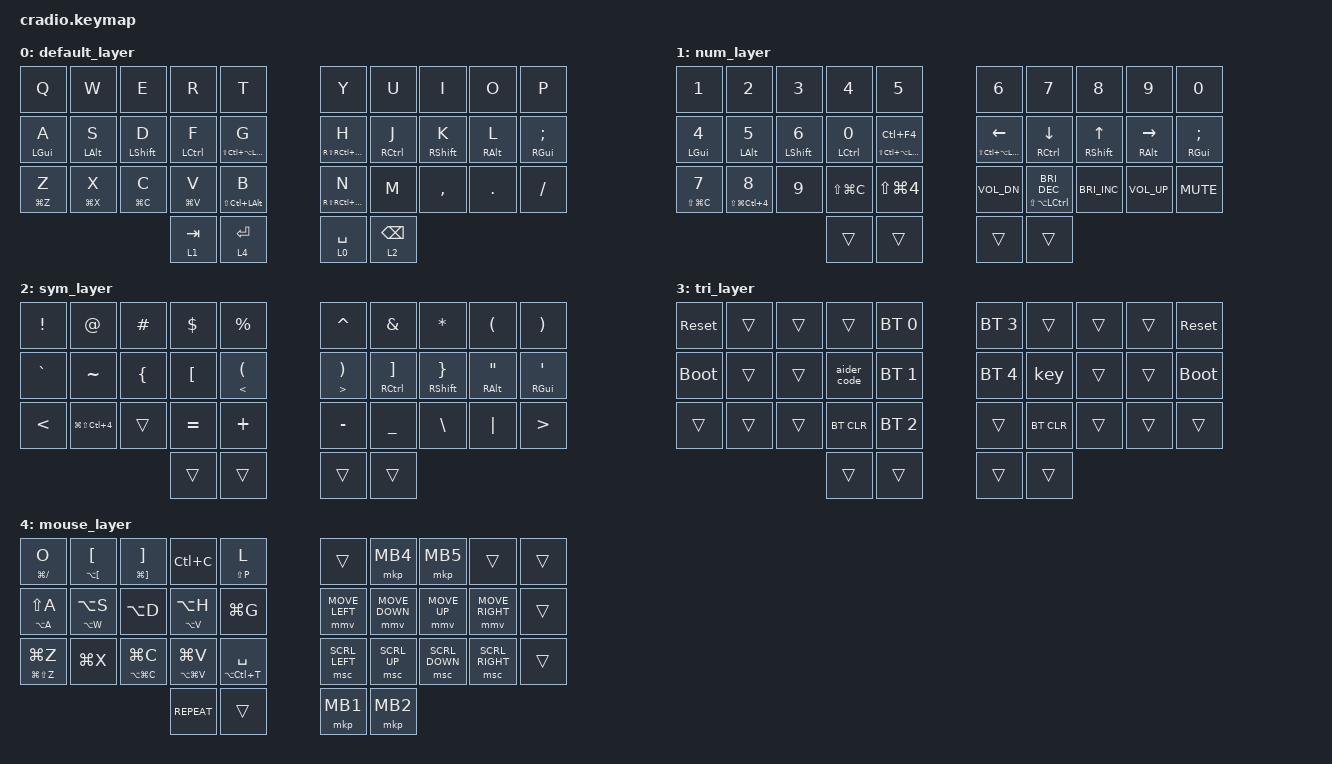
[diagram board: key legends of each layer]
// Copyright (c) 2022 The ZMK Contributors
// SPDX-License-Identifier: MIT

#include <behaviors.dtsi>
#include <dt-bindings/zmk/bt.h>
#include <dt-bindings/zmk/keys.h>
#include <dt-bindings/zmk/pointing.h>

#define ZMK_POINTING_DEFAULT_MOVE_VAL 4500  // default: 600
#define ZMK_POINTING_DEFAULT_SCRL_VAL 200

/ {
    behaviors {
        ht: hold_tap {
            compatible = "zmk,behavior-hold-tap";
            #binding-cells = <2>;
            flavor = "tap-preferred";
            tapping-term-ms = <220>;
            quick-tap-ms = <150>;
            require-prior-idle-ms = <100>;
            bindings = <&kp>, <&kp>;
        };

        hml: hml {
            compatible = "zmk,behavior-hold-tap";
            label = "HML";
            bindings = <&kp>, <&kp>;

            #binding-cells = <2>;
            tapping-term-ms = <280>;
            quick-tap-ms = <175>;
            hold-trigger-on-release;
            hold-trigger-key-positions = <30 31 32 33 34 35 15 16 17 18 19 5 6 7 8 9 25 26 27 28 29>;
            require-prior-idle-ms = <150>;
            flavor = "balanced";
        };

        hmr: hmr {
            compatible = "zmk,behavior-hold-tap";
            label = "HMR";
            bindings = <&kp>, <&kp>;

            #binding-cells = <2>;
            tapping-term-ms = <280>;
            quick-tap-ms = <175>;
            hold-trigger-on-release;
            hold-trigger-key-positions = <30 31 32 33 34 35 0 1 2 3 4 10 11 12 13 14 20 21 22 23 24>;
            require-prior-idle-ms = <150>;
            flavor = "balanced";
        };

        td_tmux: tap_dance_tmux {
            compatible = "zmk,behavior-tap-dance";
            #binding-cells = <0>;
            tapping-term-ms = <200>;
            bindings = <&kp FSLH>, <&tmux_prefix>;
        };

        sticky_shift: sticky_shift {
            compatible = "zmk,behavior-sticky-key";
            label = "STICKY_SHIFT";
            bindings = <&kp>;
            #binding-cells = <1>;
            quick-release;
            release-after-ms = <400>;
        };

        delete: delete {
            compatible = "zmk,behavior-tap-dance";
            label = "DELETE";
            #binding-cells = <0>;
            bindings = <&kp BACKSPACE>, <&kp LA(BACKSPACE)>;
        };

        layer_del: layer_del {
            compatible = "zmk,behavior-hold-tap";
            label = "LAYER_DEL";
            bindings = <&lt>, <&delete>;

            #binding-cells = <2>;
            tapping-term-ms = <150>;
            flavor = "balanced";
        };

        stick_alt_com: stick_alt_com {
            compatible = "zmk,behavior-sticky-key";
            label = "STICK_ALT_COM";
            bindings = <&kp>;
            #binding-cells = <1>;
            release-after-ms = <40>;
            quick-release;
        };
    };

    macros {
        tmux_prefix: tmux_prefix {
            compatible = "zmk,behavior-macro";
            #binding-cells = <0>;
            bindings =
                <&macro_press>,
                <&kp LCTRL>,
                <&macro_tap>,
                <&kp A>,
                <&macro_release>,
                <&kp LCTRL>;
        };

        key: key {
            compatible = "zmk,behavior-macro";
            #binding-cells = <0>;
            bindings = <&kp N4 &kp N2 &kp N2 &kp N4 &kp N2 &kp N2 &kp N6 &kp N9>;
            label = "KEY";
        };

        aider_code: aider_code {
            compatible = "zmk,behavior-macro";
            #binding-cells = <0>;
            bindings = <&kp FSLH &kp C &kp O &kp D &kp E &kp SPACE &kp G &kp O &kp SPACE &kp A &kp H &kp E &kp A &kp D>;
            label = "AIDER_CODE";
        };
    };

    conditional_layers {
        compatible = "zmk,conditional-layers";

        tri_layer {
            if-layers = <1 2>;
            then-layer = <3>;
        };

        shortcut2 {
            if-layers = <4 5>;
            then-layer = <6>;
        };
    };

    combos {
        compatible = "zmk,combos";

        jkesc {
            bindings = <&kp ESCAPE>;
            key-positions = <16 17>;
            timeout-ms = <50>;
        };

        medialayer {
            bindings = <&stick_alt_com LA(LEFT_COMMAND)>;
            key-positions = <0 1 2>;
            timeout-ms = <50>;
        };

        shortcut-layer {
            bindings = <&tog 4>;
            key-positions = <32 31>;
            timeout-ms = <50>;
        };

        df_esc {
            bindings = <&kp ESCAPE>;
            key-positions = <12 13>;
            timeout-ms = <50>;
        };

        sd_del {
            bindings = <&kp BACKSPACE>;
            key-positions = <12 11>;
            timeout-ms = <50>;
        };

        ty_mouse {
            bindings = <&tog 4>;
            key-positions = <4 5>;
            timeout-ms = <50>;
        };

        caps_word {
            bindings = <&caps_word>;
            key-positions = <20 29>;
            timeout-ms = <50>;
        };

        left-del {
            bindings = <&kp BACKSPACE>;
            key-positions = <30 31>;
            timeout-ms = <50>;
        };

        fj_ctrla {
            bindings = <&tmux_prefix>;
            key-positions = <13 16>;
            timeout-ms = <50>;
        };

        shift_dance {
            bindings = <&sticky_shift LEFT_SHIFT>;
            key-positions = <10 19>;
            timeout-ms = <50>;
        };

        default_layer {
            bindings = <&to 0>;
            key-positions = <0 9>;
            timeout-ms = <50>;
        };

        aider {
            bindings = <&aider_code>;
            key-positions = <23 26>;
            timeout-ms = <50>;
        };

        pass {
            bindings = <&key>;
            key-positions = <3 6>;
            timeout-ms = <50>;
        };

        repeat {
            bindings = <&key_repeat>;
            key-positions = <12 17>;
            timeout-ms = <50>;
        };
    };

    keymap {
        compatible = "zmk,keymap";

        default_layer {
            bindings = <
&kp Q         &kp W         &kp E         &kp R         &kp T                      &kp Y                    &kp U            &kp I         &kp O        &kp P
&hml LGUI A   &hml LALT S   &hml LSHFT D  &hml LCTRL F  &hml LS(LC(LA(LGUI))) G    &hmr RS(RC(RA(RGUI))) H  &hmr RCTRL J     &hmr RSHFT K  &hmr RALT L  &hmr RGUI SEMI
&hml LG(Z) Z  &hml LG(X) X  &hml LG(C) C  &hml LG(V) V  &ht LS(LC(LALT)) B         &ht RS(RC(RALT)) N       &kp M            &kp COMMA     &kp DOT      &kp SLASH
                                          &lt 1 TAB     &lt 4 ENTER                &lt 0 SPACE              &lt 2 BACKSPACE
            >;
        };

        num_layer {
            bindings = <
&kp N1            &kp N2                       &kp N3         &kp N4         &kp N5                          &kp N6                                &kp N7                              &kp N8                &kp N9                      &kp N0
&hml LGUI N4      &hml LALT N5                 &hml LSHFT N6  &hml LCTRL N0  &hml LS(LC(LA(LGUI))) LC(F4)    &hmr LS(LC(LA(LEFT_GUI))) LEFT_ARROW  &hmr RCTRL DOWN_ARROW               &hmr RIGHT_SHIFT UP   &hmr RIGHT_ALT RIGHT_ARROW  &hmr RIGHT_GUI SEMI
&ht LS(LG(C)) N7  &ht LS(LG(LC(NUMBER_4))) N8  &kp N9         &kp LS(LG(C))  &kp LS(LG(NUMBER_4))            &kp C_VOL_DN                          &ht LS(LA(LCTRL)) C_BRIGHTNESS_DEC  &kp C_BRIGHTNESS_INC  &kp C_VOLUME_UP             &kp C_MUTE
                                                              &trans         &trans                          &trans                                &trans
            >;
        };

        sym_layer {
            bindings = <
&kp EXCL       &kp AT              &kp HASH  &kp DLLR   &kp PRCNT                          &kp CARET                            &kp AMPS         &kp ASTRK        &kp LPAR       &kp RPAR
&kp GRAVE      &kp TILDE           &kp LBRC  &kp LBKT   &hml LESS_THAN LEFT_PARENTHESIS    &hml GREATER_THAN RIGHT_PARENTHESIS  &hmr RCTRL RBKT  &hmr RSHFT RBRC  &hmr RALT DQT  &hmr RGUI SQT
&kp LESS_THAN  &kp LG(LS(LC(N4)))  &trans    &kp EQUAL  &kp PLUS                           &kp MINUS                            &kp UNDER        &kp BSLH         &kp PIPE       &kp GREATER_THAN
                                             &trans     &trans                             &trans                               &trans
            >;
        };

        tri_layer {
            bindings = <
&sys_reset   &trans  &trans  &trans       &bt BT_SEL 0    &bt BT_SEL 3  &trans      &trans  &trans  &sys_reset
&bootloader  &trans  &trans  &aider_code  &bt BT_SEL 1    &bt BT_SEL 4  &key        &trans  &trans  &bootloader
&trans       &trans  &trans  &bt BT_CLR   &bt BT_SEL 2    &trans        &bt BT_CLR  &trans  &trans  &trans
                             &trans       &trans          &trans        &trans
            >;
        };

        mouse_layer {
            bindings = <
&ht LG(SLASH) O      &ht LA(LEFT_BRACKET) LEFT_BRACKET  &ht LG(RIGHT_BRACKET) RIGHT_BRACKET  &kp LC(C)            &ht LS(P) L            &trans          &mkp MB4        &mkp MB5        &trans           &trans
&ht LA(A) LS(A)      &ht LA(W) LA(S)                    &kp LA(D)                            &ht LA(V) LA(H)      &kp LG(G)              &mmv MOVE_LEFT  &mmv MOVE_DOWN  &mmv MOVE_UP    &mmv MOVE_RIGHT  &trans
&ht LG(LS(Z)) LG(Z)  &kp LG(X)                          &ht LA(LG(C)) LG(C)                  &ht LA(LG(V)) LG(V)  &ht LA(LC(T)) SPACE    &msc SCRL_LEFT  &msc SCRL_UP    &msc SCRL_DOWN  &msc SCRL_RIGHT  &trans
                                                                                             &kp C_REPEAT         &trans                 &mkp MB1        &mkp MB2
            >;
        };
    };
};
